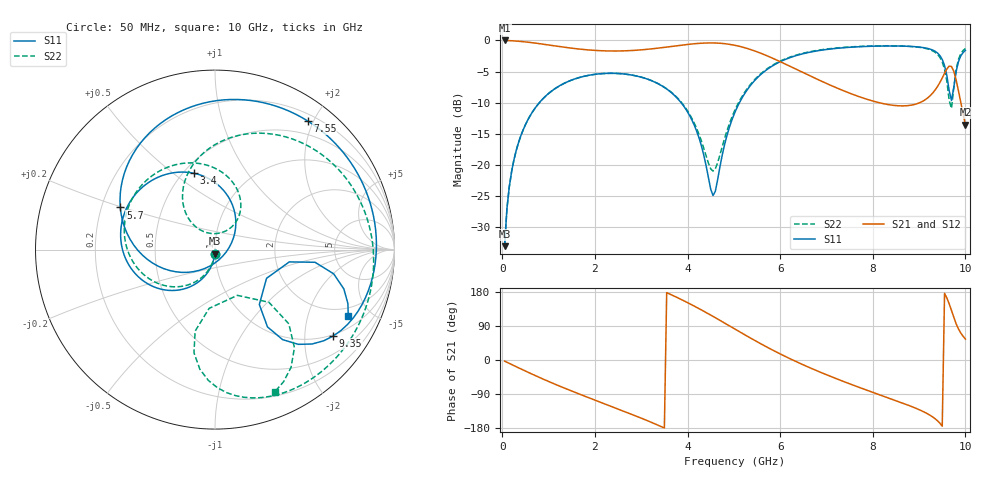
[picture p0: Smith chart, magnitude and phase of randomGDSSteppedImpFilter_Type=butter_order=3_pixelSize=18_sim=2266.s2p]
! freq	dB(S11)	phase(S11)	dB(S12)	phase(S12)
!  dB(S21)	phase(S21)	dB(S22)	phase(S22)
!S-par simulation data
#  GHz  S  DB  R 50
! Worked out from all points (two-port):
!   200 points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, 50 MHz to 10 GHz, reference 50 ohm
!   highest |S21| = -0.01 dB at 50 MHz (marker M1); lowest = -13.5 dB at 10 GHz (marker M2)
!   |S21| within 3 dB of the highest: start of sweep to 5.88 GHz
!   lowest |S11| = -33.1 dB at 50 MHz (marker M3), VSWR 1.05, Z = 49.8 - j2.21 ohm
!   |S11| at or under -10 dB: start of sweep to 802 MHz; 3.859 GHz to 5.123 GHz (1.264 GHz wide, 28.1 % of centre)
!   |S22| runs from -33.1 to -0.9 dB; largest |S21 - S12| = 0
!   S11 on the Smith chart (normalised r, x): 50 MHz: 1.00, -0.04; 3.4 GHz: 0.56, +0.60; 5.7 GHz: 0.28, +0.20; 7.55 GHz: 0.29, +1.92; 9.35 GHz: 0.96, -2.77; 10 GHz: 1.51, -3.63
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0.05  -33.10 -92.8  -0.01 -3.0  -0.01 -3.0  -33.10 -93.1
0.1  -27.10 -95.8  -0.02 -6.0  -0.02 -6.0  -27.10 -96.5
0.2  -21.14 -101.6  -0.05 -11.9  -0.05 -11.9  -21.15 -102.9
0.5  -13.55 -118.2  -0.24 -29.2  -0.24 -29.2  -13.56 -121.3
1.1  -7.95 -149.0  -0.84 -61.9  -0.84 -61.9  -7.96 -155.9
1.75  -5.80 -179.0  -1.46 -94.0  -1.46 -94.0  -5.80 170.0
2.65  -5.42 141.5  -1.67 -136.3  -1.67 -136.3  -5.42 125.3
3.4  -7.11 105.4  -1.21 -174.0  -1.21 -174.0  -7.08 87.2
4.1  -12.89 60.5  -0.57 145.1  -0.57 145.1  -12.62 54.8
4.55  -24.96 -40.0  -0.41 115.1  -0.41 115.1  -21.02 90.9
5.05  -11.11 -155.2  -0.83 79.7  -0.83 79.7  -10.78 126.7
5.7  -4.77 156.0  -2.42 35.0  -2.42 35.0  -4.66 90.0
6.15  -2.94 127.9  -3.94 7.1  -3.94 7.1  -2.86 63.3
6.7  -1.81 97.1  -5.89 -23.5  -5.89 -23.5  -1.73 33.5
7.55  -1.08 54.3  -8.63 -65.1  -8.63 -65.1  -1.02 -6.5
8.35  -0.89 16.4  -10.34 -100.6  -10.34 -100.6  -0.87 -39.5
8.9  -1.00 -10.0  -10.30 -125.8  -10.30 -125.8  -1.02 -61.9
9.35  -1.77 -36.2  -7.94 -155.4  -7.94 -155.4  -1.94 -85.3
9.6  -5.67 -55.8  -4.59 163.5  -4.59 163.5  -6.60 -103.7
9.7  -9.66 -29.1  -4.19 130.3  -4.19 130.3  -10.94 -63.9
9.8  -5.01 -7.2  -6.37 95.5  -6.37 95.5  -4.68 -45.2
10  -1.61 -26.6  -13.54 55.3  -13.54 55.3  -1.31 -67.3
